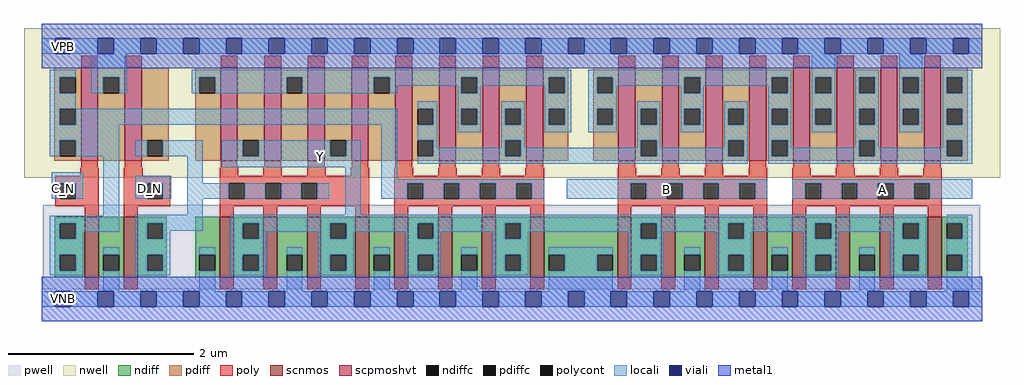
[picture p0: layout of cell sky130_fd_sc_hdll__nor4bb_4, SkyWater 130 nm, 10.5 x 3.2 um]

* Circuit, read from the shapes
.subckt sky130_fd_sc_hdll__nor4bb_4 A B C_N D_N VGND VNB VPB VPWR Y
XM1 VGND C_N n1 VNB sky130_fd_pr__nfet_01v8 w=0.65 l=0.15
XM2 n2 D_N VGND VNB sky130_fd_pr__nfet_01v8 w=0.65 l=0.15
XM3 Y n2 VGND VNB sky130_fd_pr__nfet_01v8 w=0.65 l=0.15 m=4
XM4 Y n1 VGND VNB sky130_fd_pr__nfet_01v8 w=0.65 l=0.15 m=4
XM5 Y B VGND VNB sky130_fd_pr__nfet_01v8 w=0.65 l=0.15 m=4
XM6 Y A VGND VNB sky130_fd_pr__nfet_01v8 w=0.65 l=0.15 m=4
XM7 VPWR C_N n1 VPB sky130_fd_pr__pfet_01v8_hvt w=1 l=0.18
XM8 n2 D_N VPWR VPB sky130_fd_pr__pfet_01v8_hvt w=1 l=0.18
XM9 Y n2 n3 VPB sky130_fd_pr__pfet_01v8_hvt w=1 l=0.18 m=4
XM10 n4 n1 n3 VPB sky130_fd_pr__pfet_01v8_hvt w=1 l=0.18 m=4
XM11 n4 B n5 VPB sky130_fd_pr__pfet_01v8_hvt w=1 l=0.18 m=4
XM12 VPWR A n5 VPB sky130_fd_pr__pfet_01v8_hvt w=1 l=0.18 m=4
.ends

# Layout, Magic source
magic
tech sky130A
magscale 1 2
<< nwell >>
rect -38 261 2062 582
<< pwell >>
rect 2 21 2019 203
rect 30 -17 64 21
<< scnmos >>
rect 93 47 123 177
rect 177 47 207 177
rect 383 47 413 177
rect 477 47 507 177
rect 571 47 601 177
rect 675 47 705 177
rect 759 47 789 177
rect 853 47 883 177
rect 947 47 977 177
rect 1051 47 1081 177
rect 1239 47 1269 177
rect 1333 47 1363 177
rect 1427 47 1457 177
rect 1531 47 1561 177
rect 1615 47 1645 177
rect 1709 47 1739 177
rect 1803 47 1833 177
rect 1907 47 1937 177
<< scpmoshvt >>
rect 85 297 121 497
rect 179 297 215 497
rect 385 297 421 497
rect 479 297 515 497
rect 573 297 609 497
rect 667 297 703 497
rect 761 297 797 497
rect 855 297 891 497
rect 949 297 985 497
rect 1043 297 1079 497
rect 1241 297 1277 497
rect 1335 297 1371 497
rect 1429 297 1465 497
rect 1523 297 1559 497
rect 1617 297 1653 497
rect 1711 297 1747 497
rect 1805 297 1841 497
rect 1899 297 1935 497
<< ndiff >>
rect 28 163 93 177
rect 28 129 39 163
rect 73 129 93 163
rect 28 95 93 129
rect 28 61 39 95
rect 73 61 93 95
rect 28 47 93 61
rect 123 95 177 177
rect 123 61 133 95
rect 167 61 177 95
rect 123 47 177 61
rect 207 163 269 177
rect 207 129 227 163
rect 261 129 269 163
rect 207 95 269 129
rect 207 61 227 95
rect 261 61 269 95
rect 207 47 269 61
rect 331 95 383 177
rect 331 61 339 95
rect 373 61 383 95
rect 331 47 383 61
rect 413 163 477 177
rect 413 129 433 163
rect 467 129 477 163
rect 413 95 477 129
rect 413 61 433 95
rect 467 61 477 95
rect 413 47 477 61
rect 507 95 571 177
rect 507 61 527 95
rect 561 61 571 95
rect 507 47 571 61
rect 601 163 675 177
rect 601 129 621 163
rect 655 129 675 163
rect 601 95 675 129
rect 601 61 621 95
rect 655 61 675 95
rect 601 47 675 61
rect 705 95 759 177
rect 705 61 715 95
rect 749 61 759 95
rect 705 47 759 61
rect 789 163 853 177
rect 789 129 809 163
rect 843 129 853 163
rect 789 95 853 129
rect 789 61 809 95
rect 843 61 853 95
rect 789 47 853 61
rect 883 95 947 177
rect 883 61 903 95
rect 937 61 947 95
rect 883 47 947 61
rect 977 163 1051 177
rect 977 129 997 163
rect 1031 129 1051 163
rect 977 95 1051 129
rect 977 61 997 95
rect 1031 61 1051 95
rect 977 47 1051 61
rect 1081 95 1239 177
rect 1081 61 1091 95
rect 1125 61 1195 95
rect 1229 61 1239 95
rect 1081 47 1239 61
rect 1269 163 1333 177
rect 1269 129 1289 163
rect 1323 129 1333 163
rect 1269 95 1333 129
rect 1269 61 1289 95
rect 1323 61 1333 95
rect 1269 47 1333 61
rect 1363 95 1427 177
rect 1363 61 1383 95
rect 1417 61 1427 95
rect 1363 47 1427 61
rect 1457 163 1531 177
rect 1457 129 1477 163
rect 1511 129 1531 163
rect 1457 95 1531 129
rect 1457 61 1477 95
rect 1511 61 1531 95
rect 1457 47 1531 61
rect 1561 95 1615 177
rect 1561 61 1571 95
rect 1605 61 1615 95
rect 1561 47 1615 61
rect 1645 163 1709 177
rect 1645 129 1665 163
rect 1699 129 1709 163
rect 1645 95 1709 129
rect 1645 61 1665 95
rect 1699 61 1709 95
rect 1645 47 1709 61
rect 1739 95 1803 177
rect 1739 61 1759 95
rect 1793 61 1803 95
rect 1739 47 1803 61
rect 1833 163 1907 177
rect 1833 129 1853 163
rect 1887 129 1907 163
rect 1833 95 1907 129
rect 1833 61 1853 95
rect 1887 61 1907 95
rect 1833 47 1907 61
rect 1937 163 1993 177
rect 1937 129 1947 163
rect 1981 129 1993 163
rect 1937 95 1993 129
rect 1937 61 1947 95
rect 1981 61 1993 95
rect 1937 47 1993 61
<< pdiff >>
rect 27 477 85 497
rect 27 443 39 477
rect 73 443 85 477
rect 27 409 85 443
rect 27 375 39 409
rect 73 375 85 409
rect 27 341 85 375
rect 27 307 39 341
rect 73 307 85 341
rect 27 297 85 307
rect 121 477 179 497
rect 121 443 133 477
rect 167 443 179 477
rect 121 297 179 443
rect 215 341 273 497
rect 215 307 227 341
rect 261 307 273 341
rect 215 297 273 307
rect 331 477 385 497
rect 331 443 339 477
rect 373 443 385 477
rect 331 297 385 443
rect 421 341 479 497
rect 421 307 433 341
rect 467 307 479 341
rect 421 297 479 307
rect 515 477 573 497
rect 515 443 527 477
rect 561 443 573 477
rect 515 297 573 443
rect 609 341 667 497
rect 609 307 621 341
rect 655 307 667 341
rect 609 297 667 307
rect 703 477 761 497
rect 703 443 715 477
rect 749 443 761 477
rect 703 297 761 443
rect 797 409 855 497
rect 797 375 809 409
rect 843 375 855 409
rect 797 341 855 375
rect 797 307 809 341
rect 843 307 855 341
rect 797 297 855 307
rect 891 477 949 497
rect 891 443 903 477
rect 937 443 949 477
rect 891 409 949 443
rect 891 375 903 409
rect 937 375 949 409
rect 891 297 949 375
rect 985 409 1043 497
rect 985 375 997 409
rect 1031 375 1043 409
rect 985 341 1043 375
rect 985 307 997 341
rect 1031 307 1043 341
rect 985 297 1043 307
rect 1079 477 1133 497
rect 1079 443 1091 477
rect 1125 443 1133 477
rect 1079 409 1133 443
rect 1079 375 1091 409
rect 1125 375 1133 409
rect 1079 297 1133 375
rect 1187 477 1241 497
rect 1187 443 1195 477
rect 1229 443 1241 477
rect 1187 409 1241 443
rect 1187 375 1195 409
rect 1229 375 1241 409
rect 1187 297 1241 375
rect 1277 409 1335 497
rect 1277 375 1289 409
rect 1323 375 1335 409
rect 1277 341 1335 375
rect 1277 307 1289 341
rect 1323 307 1335 341
rect 1277 297 1335 307
rect 1371 477 1429 497
rect 1371 443 1383 477
rect 1417 443 1429 477
rect 1371 409 1429 443
rect 1371 375 1383 409
rect 1417 375 1429 409
rect 1371 297 1429 375
rect 1465 409 1523 497
rect 1465 375 1477 409
rect 1511 375 1523 409
rect 1465 341 1523 375
rect 1465 307 1477 341
rect 1511 307 1523 341
rect 1465 297 1523 307
rect 1559 477 1617 497
rect 1559 443 1571 477
rect 1605 443 1617 477
rect 1559 409 1617 443
rect 1559 375 1571 409
rect 1605 375 1617 409
rect 1559 341 1617 375
rect 1559 307 1571 341
rect 1605 307 1617 341
rect 1559 297 1617 307
rect 1653 477 1711 497
rect 1653 443 1665 477
rect 1699 443 1711 477
rect 1653 409 1711 443
rect 1653 375 1665 409
rect 1699 375 1711 409
rect 1653 297 1711 375
rect 1747 477 1805 497
rect 1747 443 1759 477
rect 1793 443 1805 477
rect 1747 409 1805 443
rect 1747 375 1759 409
rect 1793 375 1805 409
rect 1747 341 1805 375
rect 1747 307 1759 341
rect 1793 307 1805 341
rect 1747 297 1805 307
rect 1841 477 1899 497
rect 1841 443 1853 477
rect 1887 443 1899 477
rect 1841 409 1899 443
rect 1841 375 1853 409
rect 1887 375 1899 409
rect 1841 297 1899 375
rect 1935 477 1993 497
rect 1935 443 1947 477
rect 1981 443 1993 477
rect 1935 409 1993 443
rect 1935 375 1947 409
rect 1981 375 1993 409
rect 1935 341 1993 375
rect 1935 307 1947 341
rect 1981 307 1993 341
rect 1935 297 1993 307
<< ndiffc >>
rect 39 129 73 163
rect 39 61 73 95
rect 133 61 167 95
rect 227 129 261 163
rect 227 61 261 95
rect 339 61 373 95
rect 433 129 467 163
rect 433 61 467 95
rect 527 61 561 95
rect 621 129 655 163
rect 621 61 655 95
rect 715 61 749 95
rect 809 129 843 163
rect 809 61 843 95
rect 903 61 937 95
rect 997 129 1031 163
rect 997 61 1031 95
rect 1091 61 1125 95
rect 1195 61 1229 95
rect 1289 129 1323 163
rect 1289 61 1323 95
rect 1383 61 1417 95
rect 1477 129 1511 163
rect 1477 61 1511 95
rect 1571 61 1605 95
rect 1665 129 1699 163
rect 1665 61 1699 95
rect 1759 61 1793 95
rect 1853 129 1887 163
rect 1853 61 1887 95
rect 1947 129 1981 163
rect 1947 61 1981 95
<< pdiffc >>
rect 39 443 73 477
rect 39 375 73 409
rect 39 307 73 341
rect 133 443 167 477
rect 227 307 261 341
rect 339 443 373 477
rect 433 307 467 341
rect 527 443 561 477
rect 621 307 655 341
rect 715 443 749 477
rect 809 375 843 409
rect 809 307 843 341
rect 903 443 937 477
rect 903 375 937 409
rect 997 375 1031 409
rect 997 307 1031 341
rect 1091 443 1125 477
rect 1091 375 1125 409
rect 1195 443 1229 477
rect 1195 375 1229 409
rect 1289 375 1323 409
rect 1289 307 1323 341
rect 1383 443 1417 477
rect 1383 375 1417 409
rect 1477 375 1511 409
rect 1477 307 1511 341
rect 1571 443 1605 477
rect 1571 375 1605 409
rect 1571 307 1605 341
rect 1665 443 1699 477
rect 1665 375 1699 409
rect 1759 443 1793 477
rect 1759 375 1793 409
rect 1759 307 1793 341
rect 1853 443 1887 477
rect 1853 375 1887 409
rect 1947 443 1981 477
rect 1947 375 1981 409
rect 1947 307 1981 341
<< poly >>
rect 85 497 121 523
rect 179 497 215 523
rect 385 497 421 523
rect 479 497 515 523
rect 573 497 609 523
rect 667 497 703 523
rect 761 497 797 523
rect 855 497 891 523
rect 949 497 985 523
rect 1043 497 1079 523
rect 1241 497 1277 523
rect 1335 497 1371 523
rect 1429 497 1465 523
rect 1523 497 1559 523
rect 1617 497 1653 523
rect 1711 497 1747 523
rect 1805 497 1841 523
rect 1899 497 1935 523
rect 85 282 121 297
rect 179 282 215 297
rect 385 282 421 297
rect 479 282 515 297
rect 573 282 609 297
rect 667 282 703 297
rect 761 282 797 297
rect 855 282 891 297
rect 949 282 985 297
rect 1043 282 1079 297
rect 1241 282 1277 297
rect 1335 282 1371 297
rect 1429 282 1465 297
rect 1523 282 1559 297
rect 1617 282 1653 297
rect 1711 282 1747 297
rect 1805 282 1841 297
rect 1899 282 1935 297
rect 83 265 123 282
rect 29 249 123 265
rect 29 215 39 249
rect 73 215 123 249
rect 29 199 123 215
rect 93 177 123 199
rect 177 265 217 282
rect 383 265 423 282
rect 477 265 517 282
rect 571 265 611 282
rect 665 265 705 282
rect 177 249 277 265
rect 177 215 227 249
rect 261 215 277 249
rect 177 199 277 215
rect 383 249 705 265
rect 383 215 403 249
rect 437 215 481 249
rect 515 215 559 249
rect 593 215 705 249
rect 383 199 705 215
rect 177 177 207 199
rect 383 177 413 199
rect 477 177 507 199
rect 571 177 601 199
rect 675 177 705 199
rect 759 265 799 282
rect 853 265 893 282
rect 947 265 987 282
rect 1041 265 1081 282
rect 759 249 1081 265
rect 759 215 787 249
rect 821 215 865 249
rect 899 215 943 249
rect 977 215 1021 249
rect 1055 215 1081 249
rect 759 199 1081 215
rect 759 177 789 199
rect 853 177 883 199
rect 947 177 977 199
rect 1051 177 1081 199
rect 1239 265 1279 282
rect 1333 265 1373 282
rect 1427 265 1467 282
rect 1521 265 1561 282
rect 1239 249 1561 265
rect 1239 215 1267 249
rect 1301 215 1345 249
rect 1379 215 1423 249
rect 1457 215 1501 249
rect 1535 215 1561 249
rect 1239 199 1561 215
rect 1239 177 1269 199
rect 1333 177 1363 199
rect 1427 177 1457 199
rect 1531 177 1561 199
rect 1615 265 1655 282
rect 1709 265 1749 282
rect 1803 265 1843 282
rect 1897 265 1937 282
rect 1615 249 1937 265
rect 1615 215 1643 249
rect 1677 215 1721 249
rect 1755 215 1799 249
rect 1833 215 1877 249
rect 1911 215 1937 249
rect 1615 199 1937 215
rect 1615 177 1645 199
rect 1709 177 1739 199
rect 1803 177 1833 199
rect 1907 177 1937 199
rect 93 21 123 47
rect 177 21 207 47
rect 383 21 413 47
rect 477 21 507 47
rect 571 21 601 47
rect 675 21 705 47
rect 759 21 789 47
rect 853 21 883 47
rect 947 21 977 47
rect 1051 21 1081 47
rect 1239 21 1269 47
rect 1333 21 1363 47
rect 1427 21 1457 47
rect 1531 21 1561 47
rect 1615 21 1645 47
rect 1709 21 1739 47
rect 1803 21 1833 47
rect 1907 21 1937 47
<< polycont >>
rect 39 215 73 249
rect 227 215 261 249
rect 403 215 437 249
rect 481 215 515 249
rect 559 215 593 249
rect 787 215 821 249
rect 865 215 899 249
rect 943 215 977 249
rect 1021 215 1055 249
rect 1267 215 1301 249
rect 1345 215 1379 249
rect 1423 215 1457 249
rect 1501 215 1535 249
rect 1643 215 1677 249
rect 1721 215 1755 249
rect 1799 215 1833 249
rect 1877 215 1911 249
<< locali >>
rect 0 527 29 561
rect 63 527 121 561
rect 155 527 213 561
rect 247 527 305 561
rect 339 527 397 561
rect 431 527 489 561
rect 523 527 581 561
rect 615 527 673 561
rect 707 527 765 561
rect 799 527 857 561
rect 891 527 949 561
rect 983 527 1041 561
rect 1075 527 1133 561
rect 1167 527 1225 561
rect 1259 527 1317 561
rect 1351 527 1409 561
rect 1443 527 1501 561
rect 1535 527 1593 561
rect 1627 527 1685 561
rect 1719 527 1777 561
rect 1811 527 1869 561
rect 1903 527 1961 561
rect 1995 527 2024 561
rect 17 477 73 493
rect 17 443 39 477
rect 107 477 183 527
rect 107 443 133 477
rect 167 443 183 477
rect 323 477 1139 493
rect 323 443 339 477
rect 373 443 527 477
rect 561 443 715 477
rect 749 459 903 477
rect 749 443 765 459
rect 895 443 903 459
rect 937 459 1091 477
rect 937 443 945 459
rect 17 409 73 443
rect 809 409 851 425
rect 17 375 39 409
rect 73 375 765 409
rect 17 341 167 375
rect 17 307 39 341
rect 73 307 167 341
rect 201 307 227 341
rect 261 307 347 341
rect 22 249 89 273
rect 22 215 39 249
rect 73 215 89 249
rect 133 179 167 307
rect 201 249 279 265
rect 201 215 227 249
rect 261 215 279 249
rect 313 249 347 307
rect 388 307 433 341
rect 467 307 621 341
rect 655 307 687 341
rect 388 283 687 307
rect 313 215 403 249
rect 437 215 481 249
rect 515 215 559 249
rect 593 215 619 249
rect 313 181 347 215
rect 653 181 687 283
rect 731 257 765 375
rect 843 375 851 409
rect 809 341 851 375
rect 895 409 945 443
rect 1083 443 1091 459
rect 1125 443 1139 477
rect 895 375 903 409
rect 937 375 945 409
rect 895 359 945 375
rect 989 409 1039 425
rect 989 375 997 409
rect 1031 375 1039 409
rect 843 325 851 341
rect 989 341 1039 375
rect 1083 409 1139 443
rect 1083 375 1091 409
rect 1125 375 1139 409
rect 1083 359 1139 375
rect 1176 477 1613 493
rect 1176 443 1195 477
rect 1229 459 1383 477
rect 1229 443 1237 459
rect 1176 409 1237 443
rect 1375 443 1383 459
rect 1417 459 1571 477
rect 1417 443 1425 459
rect 1176 375 1195 409
rect 1229 375 1237 409
rect 1176 359 1237 375
rect 1281 409 1331 425
rect 1281 375 1289 409
rect 1323 375 1331 409
rect 989 325 997 341
rect 843 307 997 325
rect 1031 325 1039 341
rect 1281 341 1331 375
rect 1375 409 1425 443
rect 1563 443 1571 459
rect 1605 443 1613 477
rect 1375 375 1383 409
rect 1417 375 1425 409
rect 1375 359 1425 375
rect 1469 409 1519 425
rect 1469 375 1477 409
rect 1511 375 1519 409
rect 1281 325 1289 341
rect 1031 307 1289 325
rect 1323 325 1331 341
rect 1469 341 1519 375
rect 1469 325 1477 341
rect 1323 307 1477 325
rect 1511 307 1519 341
rect 809 291 1519 307
rect 1563 409 1613 443
rect 1563 375 1571 409
rect 1605 375 1613 409
rect 1563 341 1613 375
rect 1657 477 1707 527
rect 1657 443 1665 477
rect 1699 443 1707 477
rect 1657 409 1707 443
rect 1657 375 1665 409
rect 1699 375 1707 409
rect 1657 359 1707 375
rect 1751 477 1801 493
rect 1751 443 1759 477
rect 1793 443 1801 477
rect 1751 409 1801 443
rect 1751 375 1759 409
rect 1793 375 1801 409
rect 1563 307 1571 341
rect 1605 325 1613 341
rect 1751 341 1801 375
rect 1845 477 1895 527
rect 1845 443 1853 477
rect 1887 443 1895 477
rect 1845 409 1895 443
rect 1845 375 1853 409
rect 1887 375 1895 409
rect 1845 359 1895 375
rect 1939 477 2002 493
rect 1939 443 1947 477
rect 1981 443 2002 477
rect 1939 409 2002 443
rect 1939 375 1947 409
rect 1981 375 2002 409
rect 1751 325 1759 341
rect 1605 307 1759 325
rect 1793 325 1801 341
rect 1939 341 2002 375
rect 1939 325 1947 341
rect 1793 307 1947 325
rect 1981 307 2002 341
rect 1563 291 2002 307
rect 731 249 1081 257
rect 731 215 787 249
rect 821 215 865 249
rect 899 215 943 249
rect 977 215 1021 249
rect 1055 215 1081 249
rect 1130 249 1561 257
rect 1130 215 1267 249
rect 1301 215 1345 249
rect 1379 215 1423 249
rect 1457 215 1501 249
rect 1535 215 1561 249
rect 1615 249 2002 257
rect 1615 215 1643 249
rect 1677 215 1721 249
rect 1755 215 1799 249
rect 1833 215 1877 249
rect 1911 215 2002 249
rect 17 163 167 179
rect 17 129 39 163
rect 73 145 167 163
rect 201 163 347 181
rect 73 129 89 145
rect 17 95 89 129
rect 201 129 227 163
rect 261 147 347 163
rect 407 163 1903 181
rect 261 129 277 147
rect 17 61 39 95
rect 73 61 89 95
rect 17 51 89 61
rect 133 95 167 111
rect 133 17 167 61
rect 201 95 277 129
rect 407 129 433 163
rect 467 145 621 163
rect 467 129 483 145
rect 201 61 227 95
rect 261 61 277 95
rect 201 51 277 61
rect 339 95 373 111
rect 339 17 373 61
rect 407 95 483 129
rect 595 129 621 145
rect 655 145 809 163
rect 655 129 671 145
rect 407 61 433 95
rect 467 61 483 95
rect 407 51 483 61
rect 527 95 561 111
rect 527 17 561 61
rect 595 95 671 129
rect 783 129 809 145
rect 843 145 997 163
rect 843 129 859 145
rect 595 61 621 95
rect 655 61 671 95
rect 595 51 671 61
rect 715 95 749 111
rect 715 17 749 61
rect 783 95 859 129
rect 971 129 997 145
rect 1031 145 1289 163
rect 1031 129 1047 145
rect 783 61 809 95
rect 843 61 859 95
rect 783 51 859 61
rect 903 95 937 111
rect 903 17 937 61
rect 971 95 1047 129
rect 1263 129 1289 145
rect 1323 145 1477 163
rect 1323 129 1339 145
rect 971 61 997 95
rect 1031 61 1047 95
rect 971 51 1047 61
rect 1091 95 1229 111
rect 1125 61 1195 95
rect 1091 17 1229 61
rect 1263 95 1339 129
rect 1451 129 1477 145
rect 1511 145 1665 163
rect 1511 129 1527 145
rect 1263 61 1289 95
rect 1323 61 1339 95
rect 1263 51 1339 61
rect 1383 95 1417 111
rect 1383 17 1417 61
rect 1451 95 1527 129
rect 1639 129 1665 145
rect 1699 145 1853 163
rect 1699 129 1715 145
rect 1451 61 1477 95
rect 1511 61 1527 95
rect 1451 51 1527 61
rect 1571 95 1605 111
rect 1571 17 1605 61
rect 1639 95 1715 129
rect 1827 129 1853 145
rect 1887 129 1903 163
rect 1639 61 1665 95
rect 1699 61 1715 95
rect 1639 51 1715 61
rect 1759 95 1793 111
rect 1759 17 1793 61
rect 1827 95 1903 129
rect 1827 61 1853 95
rect 1887 61 1903 95
rect 1827 51 1903 61
rect 1947 163 2002 181
rect 1981 129 2002 163
rect 1947 95 2002 129
rect 1981 61 2002 95
rect 1947 17 2002 61
rect 0 -17 29 17
rect 63 -17 121 17
rect 155 -17 213 17
rect 247 -17 305 17
rect 339 -17 397 17
rect 431 -17 489 17
rect 523 -17 581 17
rect 615 -17 673 17
rect 707 -17 765 17
rect 799 -17 857 17
rect 891 -17 949 17
rect 983 -17 1041 17
rect 1075 -17 1133 17
rect 1167 -17 1225 17
rect 1259 -17 1317 17
rect 1351 -17 1409 17
rect 1443 -17 1501 17
rect 1535 -17 1593 17
rect 1627 -17 1685 17
rect 1719 -17 1777 17
rect 1811 -17 1869 17
rect 1903 -17 1961 17
rect 1995 -17 2024 17
<< viali >>
rect 29 527 63 561
rect 121 527 155 561
rect 213 527 247 561
rect 305 527 339 561
rect 397 527 431 561
rect 489 527 523 561
rect 581 527 615 561
rect 673 527 707 561
rect 765 527 799 561
rect 857 527 891 561
rect 949 527 983 561
rect 1041 527 1075 561
rect 1133 527 1167 561
rect 1225 527 1259 561
rect 1317 527 1351 561
rect 1409 527 1443 561
rect 1501 527 1535 561
rect 1593 527 1627 561
rect 1685 527 1719 561
rect 1777 527 1811 561
rect 1869 527 1903 561
rect 1961 527 1995 561
rect 29 -17 63 17
rect 121 -17 155 17
rect 213 -17 247 17
rect 305 -17 339 17
rect 397 -17 431 17
rect 489 -17 523 17
rect 581 -17 615 17
rect 673 -17 707 17
rect 765 -17 799 17
rect 857 -17 891 17
rect 949 -17 983 17
rect 1041 -17 1075 17
rect 1133 -17 1167 17
rect 1225 -17 1259 17
rect 1317 -17 1351 17
rect 1409 -17 1443 17
rect 1501 -17 1535 17
rect 1593 -17 1627 17
rect 1685 -17 1719 17
rect 1777 -17 1811 17
rect 1869 -17 1903 17
rect 1961 -17 1995 17
<< metal1 >>
rect 0 561 2024 592
rect 0 527 29 561
rect 63 527 121 561
rect 155 527 213 561
rect 247 527 305 561
rect 339 527 397 561
rect 431 527 489 561
rect 523 527 581 561
rect 615 527 673 561
rect 707 527 765 561
rect 799 527 857 561
rect 891 527 949 561
rect 983 527 1041 561
rect 1075 527 1133 561
rect 1167 527 1225 561
rect 1259 527 1317 561
rect 1351 527 1409 561
rect 1443 527 1501 561
rect 1535 527 1593 561
rect 1627 527 1685 561
rect 1719 527 1777 561
rect 1811 527 1869 561
rect 1903 527 1961 561
rect 1995 527 2024 561
rect 0 496 2024 527
rect 0 17 2024 48
rect 0 -17 29 17
rect 63 -17 121 17
rect 155 -17 213 17
rect 247 -17 305 17
rect 339 -17 397 17
rect 431 -17 489 17
rect 523 -17 581 17
rect 615 -17 673 17
rect 707 -17 765 17
rect 799 -17 857 17
rect 891 -17 949 17
rect 983 -17 1041 17
rect 1075 -17 1133 17
rect 1167 -17 1225 17
rect 1259 -17 1317 17
rect 1351 -17 1409 17
rect 1443 -17 1501 17
rect 1535 -17 1593 17
rect 1627 -17 1685 17
rect 1719 -17 1777 17
rect 1811 -17 1869 17
rect 1903 -17 1961 17
rect 1995 -17 2024 17
rect 0 -48 2024 -17
<< labels >>
flabel locali s 215 221 249 255 0 FreeSans 400 180 0 0 D_N
port 4 nsew signal input
flabel locali s 582 289 616 323 0 FreeSans 400 180 0 0 Y
port 9 nsew signal output
flabel locali s 1615 215 2002 257 0 FreeSans 400 180 0 0 A
port 1 nsew signal input
flabel locali s 1130 215 1561 257 0 FreeSans 400 180 0 0 B
port 2 nsew signal input
flabel locali s 30 221 64 255 0 FreeSans 400 0 0 0 C_N
port 3 nsew signal input
flabel pwell s 30 -17 64 17 0 FreeSans 200 0 0 0 VNB
port 6 nsew ground bidirectional
flabel nwell s 30 527 64 561 0 FreeSans 200 0 0 0 VPB
port 7 nsew power bidirectional
flabel metal1 s 30 -17 64 17 0 FreeSans 200 0 0 0 VGND
port 5 nsew ground bidirectional
flabel metal1 s 30 527 64 561 0 FreeSans 200 0 0 0 VPWR
port 8 nsew power bidirectional
rlabel comment s 0 0 0 0 4 nor4bb_4
<< properties >>
string LEFsite unithd
string LEFclass CORE
string FIXED_BBOX 0 0 2024 544
string GDS_FILE $PDKPATH/libs.ref/sky130_fd_sc_hdll/gds/sky130_fd_sc_hdll.gds
string LEFsymmetry X Y R90
string GDS_END 1516110
string GDS_START 1501766
string LEFproperties maskLayoutSubType "abstract" prCellType "standard" originalViewName "layout"
<< end >>
